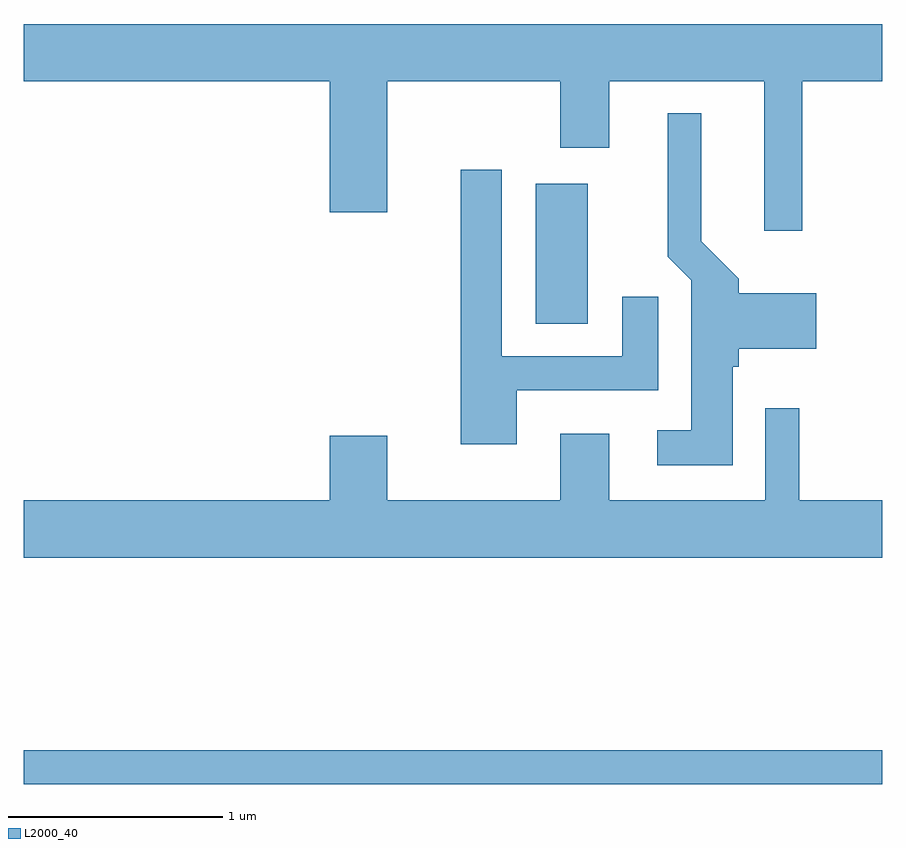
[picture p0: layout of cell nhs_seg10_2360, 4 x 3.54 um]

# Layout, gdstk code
import gdstk
lib = gdstk.Library(unit=1e-6, precision=1e-09)
def R(c, l, rs):  # rectangles x0, y0, x1, y1
    for r in rs: c.add(gdstk.rectangle(r[:2], r[2:], *l))
def P(c, l, *ps):  # polygons
    for p in ps: c.add(gdstk.Polygon(p, *l))
L2000_40 = (2000, 40)

nhs_seg10_2360 = lib.new_cell('nhs_seg10_2360')
R(nhs_seg10_2360, L2000_40, [(253.611,2190.561,257.611,2190.719), (255.996,2192.706,256.239,2193.359)])
P(nhs_seg10_2360, L2000_40, [(257.239,2193.836),(257.611,2193.836),(257.611,2194.104),(253.611,2194.104),(253.611,2193.836),(255.036,2193.836),(255.036,2193.226),(255.304,2193.226),(255.304,2193.836),(256.111,2193.836),(256.111,2193.526),(256.339,2193.526),(256.339,2193.836),(257.061,2193.836),(257.061,2193.141),(257.239,2193.141)],
  [(256.914,2192.506),(256.944,2192.506),(256.944,2192.591),(257.304,2192.591),(257.304,2192.849),(256.944,2192.849),(256.944,2192.917),(256.769,2193.092),(256.769,2193.688),(256.611,2193.688),(256.611,2193.019),(256.721,2192.909),(256.721,2192.209),(256.563,2192.209),(256.563,2192.046),(256.914,2192.046)],
  [(255.909,2192.396),(256.569,2192.396),(256.569,2192.833),(256.401,2192.833),(256.401,2192.554),(255.839,2192.554),(255.839,2193.424),(255.646,2193.424),(255.646,2192.146),(255.909,2192.146)],
  [(257.611,2191.884),(257.224,2191.884),(257.224,2192.313),(257.066,2192.313),(257.066,2191.884),(256.339,2191.884),(256.339,2192.194),(256.111,2192.194),(256.111,2191.884),(255.304,2191.884),(255.304,2192.184),(255.036,2192.184),(255.036,2191.884),(253.611,2191.884),(253.611,2191.616),(257.611,2191.616)])

lib.write_gds('nhs_seg10_2360.gds')
